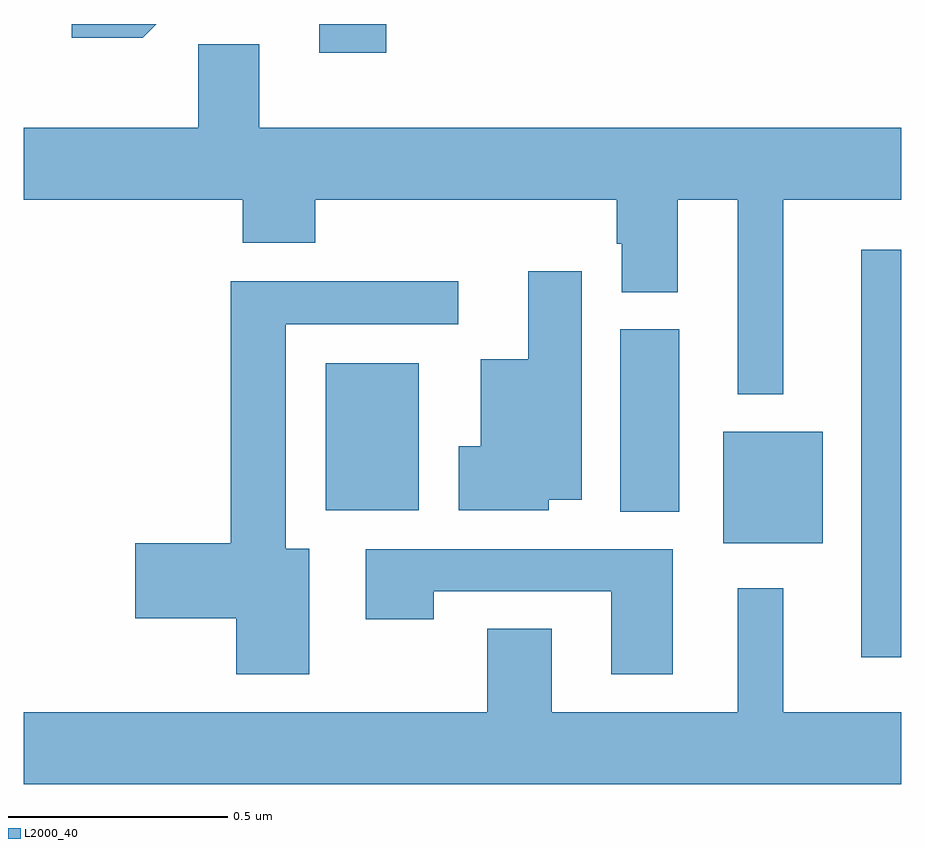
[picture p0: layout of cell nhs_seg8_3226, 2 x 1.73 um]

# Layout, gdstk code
import gdstk
lib = gdstk.Library(unit=1e-6, precision=1e-09)
def R(c, l, rs):  # rectangles x0, y0, x1, y1
    for r in rs: c.add(gdstk.rectangle(r[:2], r[2:], *l))
def P(c, l, *ps):  # polygons
    for p in ps: c.add(gdstk.Polygon(p, *l))
L2000_40 = (2000, 40)

nhs_seg8_3226 = lib.new_cell('nhs_seg8_3226')
R(nhs_seg8_3226, L2000_40, [(155.909,1115.457,156,1116.385), (155.594,1115.717,155.821,1115.971), (155.36,1115.788,155.494,1116.204), (154.688,1115.792,154.9,1116.127), (154.673,1116.834,154.826,1116.9)])
P(nhs_seg8_3226, L2000_40, [(154.302,1116.9),(154.11,1116.9),(154.11,1116.869),(154.271,1116.869)],
  [(154.398,1116.854),(154.398,1116.664),(154,1116.664),(154,1116.5),(154.499,1116.5),(154.499,1116.401),(154.664,1116.401),(154.664,1116.5),(155.351,1116.5),(155.351,1116.399),(155.363,1116.399),(155.363,1116.289),(155.491,1116.289),(155.491,1116.5),(155.627,1116.5),(155.627,1116.056),(155.731,1116.056),(155.731,1116.5),(156,1116.5),(156,1116.664),(154.537,1116.664),(154.537,1116.854)],
  [(155.196,1115.816),(155.272,1115.816),(155.272,1116.337),(155.15,1116.337),(155.15,1116.136),(155.042,1116.136),(155.042,1115.938),(154.991,1115.938),(154.991,1115.792),(155.196,1115.792)],
  [(154.651,1115.704),(154.597,1115.704),(154.597,1116.216),(154.99,1116.216),(154.99,1116.314),(154.472,1116.314),(154.472,1115.717),(154.254,1115.717),(154.254,1115.546),(154.484,1115.546),(154.484,1115.418),(154.651,1115.418)],
  [(155.479,1115.703),(154.779,1115.703),(154.779,1115.544),(154.935,1115.544),(154.935,1115.607),(155.339,1115.607),(155.339,1115.418),(155.479,1115.418)],
  [(156,1115.332),(155.731,1115.332),(155.731,1115.614),(155.627,1115.614),(155.627,1115.332),(155.203,1115.332),(155.203,1115.522),(155.056,1115.522),(155.056,1115.332),(154,1115.332),(154,1115.168),(156,1115.168)])

lib.write_gds('nhs_seg8_3226.gds')
